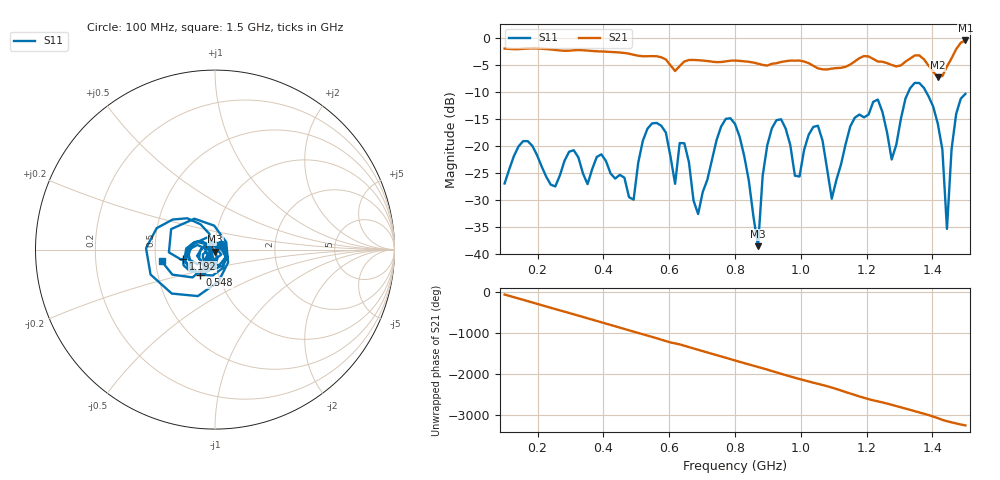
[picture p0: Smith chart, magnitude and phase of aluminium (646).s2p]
! NanoVNA-App
! Date: 2025-09-25 15:00:18
! Start: 100MHz Stop: 1,5GHz Points: 101
! S-Parameter data: F S11 S21 S12 S22
# Hz S RI R 50
!  Frequency  S11_Real  S11_Imag  S21_Real  S21_Imag  S12_Real  S12_Imag  S22_Real  S22_Imag
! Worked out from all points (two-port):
!   101 points, 100 MHz to 1.5 GHz, reference 50 ohm
!   highest |S21| = -0.41 dB at 1.5 GHz (marker M1); lowest = -7.2 dB at 1.416 GHz (marker M2)
!   |S21| within 3 dB of the highest: start of sweep to 566.9 MHz; 1.461 GHz to end of sweep (the widest 2 of 4)
!   lowest |S11| = -38.6 dB at 870 MHz (marker M3), VSWR 1.02, Z = 50.2 - j1.17 ohm
!   |S11| at or under -10 dB: start of sweep to 1.327 GHz; 1.381 GHz to end of sweep
!   S12 and S22 are empty: the file has one direction only
!   S11 on the Smith chart (normalised r, x): 100 MHz: 1.07, +0.06; 548 MHz: 0.82, -0.24; 1.192 GHz: 0.70, -0.07; 1.5 GHz: 0.54, -0.08
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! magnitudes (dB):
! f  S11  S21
! 100 MHz  -27.0  -1.9
! 156 MHz  -19.1  -2.0
! 338 MHz  -25.1  -2.2
! 492 MHz  -29.9  -3.1
! 548 MHz  -15.8  -3.3
! 576 MHz  -16.2  -3.5
! 646 MHz  -19.5  -4.3
! 688 MHz  -32.6  -4.1
! 800 MHz  -15.9  -4.1
! 870 MHz  -38.6  -4.7
! 912 MHz  -16.7  -4.7
! 996 MHz  -25.7  -4.1
! 1.038 GHz  -16.4  -5.1
! 1.094 GHz  -29.8  -5.6
! 1.192 GHz  -14.7  -3.3
! 1.234 GHz  -11.4  -4.3
! 1.276 GHz  -22.5  -5.0
! 1.346 GHz  -8.3  -3.2
! 1.416 GHz  -15.8  -7.2
! 1.444 GHz  -35.4  -5.2
! 1.472 GHz  -14.0  -2.0
! 1.5 GHz  -10.3  -0.4
